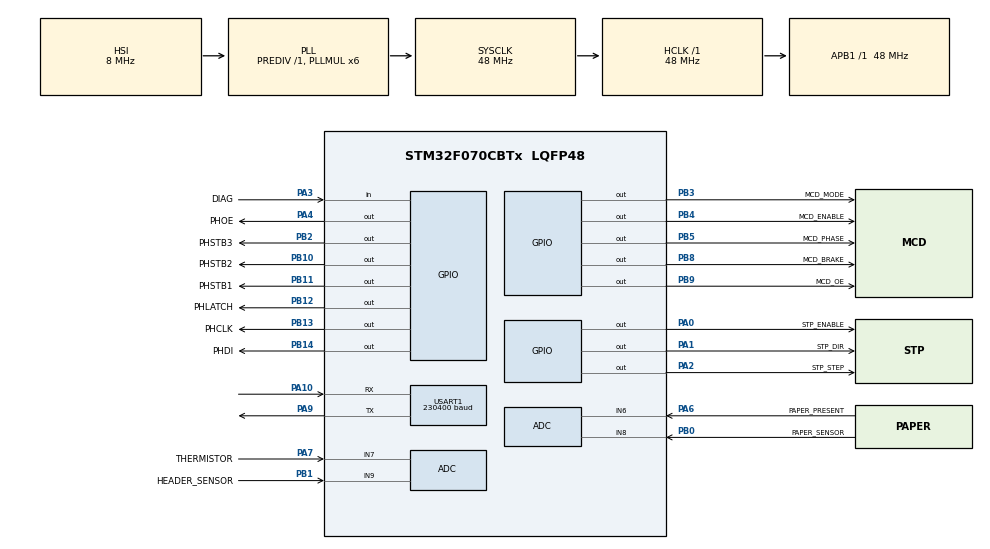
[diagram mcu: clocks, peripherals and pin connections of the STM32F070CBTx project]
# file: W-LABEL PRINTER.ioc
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ADC.SamplingTime=ADC_SAMPLETIME_239CYCLES_5
Mcu.Family=STM32F0
Mcu.Name=STM32F070CBTx
Mcu.Package=LQFP48
NVIC.TIM14_IRQn=true\:1\:0\:true\:false\:true\:true\:true
NVIC.USART1_IRQn=true\:0\:0\:false\:false\:true\:true\:true
PA0.GPIO_Label=STP_ENABLE
PA0.GPIO_PuPd=GPIO_PULLDOWN
PA0.Signal=GPIO_Output
PA1.GPIO_Label=STP_DIR
PA1.Signal=GPIO_Output
PA10.Mode=Asynchronous
PA10.Signal=USART1_RX
PA13.Mode=Serial_Wire
PA13.Signal=SYS_SWDIO
PA14.Mode=Serial_Wire
PA14.Signal=SYS_SWCLK
PA2.GPIO_Label=STP_STEP
PA2.GPIO_PuPd=GPIO_PULLDOWN
PA2.GPIO_Speed=GPIO_SPEED_FREQ_HIGH
PA2.Signal=GPIO_Output
PA3.GPIO_Label=DIAG
PA3.Signal=GPIO_Input
PA4.GPIO_Label=PHOE
PA4.GPIO_PuPd=GPIO_PULLDOWN
PA4.Signal=GPIO_Output
PA6.GPIO_Label=PAPER_PRESENT
PA6.Mode=IN6
PA6.Signal=ADC_IN6
PA7.GPIO_Label=THERMISTOR
PA7.Mode=IN7
PA7.Signal=ADC_IN7
PA9.Mode=Asynchronous
PA9.Signal=USART1_TX
PB0.GPIO_Label=PAPER_SENSOR
PB0.Mode=IN8
PB0.Signal=ADC_IN8
PB1.GPIO_Label=HEADER_SENSOR
PB1.Mode=IN9
PB1.Signal=ADC_IN9
PB10.GPIO_Label=PHSTB2
PB10.GPIO_PuPd=GPIO_PULLDOWN
PB10.GPIO_Speed=GPIO_SPEED_FREQ_HIGH
PB10.Signal=GPIO_Output
PB11.GPIO_Label=PHSTB1
PB11.GPIO_PuPd=GPIO_PULLDOWN
PB11.GPIO_Speed=GPIO_SPEED_FREQ_HIGH
PB11.Signal=GPIO_Output
PB12.GPIO_Label=PHLATCH
PB12.GPIO_Speed=GPIO_SPEED_FREQ_HIGH
PB12.Signal=GPIO_Output
PB13.GPIO_Label=PHCLK
PB13.GPIO_Speed=GPIO_SPEED_FREQ_HIGH
PB13.Signal=GPIO_Output
PB14.GPIO_Label=PHDI
PB14.GPIO_Speed=GPIO_SPEED_FREQ_HIGH
PB14.Signal=GPIO_Output
PB2.GPIO_Label=PHSTB3
PB2.GPIO_PuPd=GPIO_PULLDOWN
PB2.GPIO_Speed=GPIO_SPEED_FREQ_HIGH
PB2.Signal=GPIO_Output
PB3.GPIO_Label=MCD_MODE
PB3.Signal=GPIO_Output
PB4.GPIO_Label=MCD_ENABLE
PB4.GPIO_PuPd=GPIO_PULLDOWN
PB4.Signal=GPIO_Output
PB5.GPIO_Label=MCD_PHASE
PB5.Signal=GPIO_Output
PB8.GPIO_Label=MCD_BRAKE
PB8.Signal=GPIO_Output
PB9.GPIO_Label=MCD_OE
PB9.Signal=GPIO_Output
ProjectManager.HeapSize=0x200
ProjectManager.StackSize=0x400
ProjectManager.TargetToolchain=MDK-ARM V5.27
RCC.AHBFreq_Value=48000000
RCC.APB1Freq_Value=48000000
RCC.APB1TimFreq_Value=48000000
RCC.HCLKFreq_Value=48000000
RCC.PLLMUL=RCC_PLL_MUL6
RCC.SYSCLKFreq_VALUE=48000000
RCC.SYSCLKSource=RCC_SYSCLKSOURCE_PLLCLK
TIM14.Period=1200
TIM14.Prescaler=47
USART1.BaudRate=230400
USART1.VirtualMode-Asynchronous=VM_ASYNC
VP_IWDG_VS_IWDG.Mode=IWDG_Activate
VP_TIM14_VS_ClockSourceINT.Mode=Enable_Timer
board=custom

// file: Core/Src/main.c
/* USER CODE BEGIN Header */
/**
  ******************************************************************************
  * @file           : main.c
  * @brief          : Main program body
  ******************************************************************************
  * @attention
  *
  * <h2><center>&copy; Copyright (c) 2022 STMicroelectronics.
  * All rights reserved.</center></h2>
  *
  * This software component is licensed by ST under BSD 3-Clause license,
  * the "License"; You may not use this file except in compliance with the
  * License. You may obtain a copy of the License at:
  *                        opensource.org/licenses/BSD-3-Clause
  *
  ******************************************************************************
  */
/* USER CODE END Header */
#include "main.h"

ADC_HandleTypeDef hadc;

IWDG_HandleTypeDef hiwdg;

TIM_HandleTypeDef htim14;

UART_HandleTypeDef huart1;

void SystemClock_Config(void);
static void MX_GPIO_Init(void);
static void MX_ADC_Init(void);
static void MX_IWDG_Init(void);
static void MX_TIM14_Init(void);
static void MX_USART1_UART_Init(void);

int main(void)
{

  /* MCU Configuration--------------------------------------------------------*/

  /* Reset of all peripherals, Initializes the Flash interface and the Systick. */
  HAL_Init();

  /* Configure the system clock */
  SystemClock_Config();

  /* Initialize all configured peripherals */
  MX_GPIO_Init();
  MX_ADC_Init();
 // MX_IWDG_Init();
  MX_TIM14_Init();
  MX_USART1_UART_Init();
  /* USER CODE BEGIN 2 */
  sensor_process_init();
	dcmotor_disable();
	steppermotor_disable();
	steppermotor_setspeed(300);
	printerhead_disable();
	HAL_TIM_Base_Start_IT(&htim14);
	HAL_NVIC_EnableIRQ(TIM14_IRQn);
	/* USER CODE END 2 */

  /* Infinite loop */
  /* USER CODE BEGIN WHILE */
	steppermotor_enable();
  printerhead_enable();
  while (1)
  {
		IWDG->KR = IWDG_KEY_REFRESH;
		sensor_process();

		HAL_Delay(2000);
	steppermotor_disable();
  printerhead_disable();
while (1);

    /* USER CODE END WHILE */

  }
}

void SystemClock_Config(void)
{
  RCC_OscInitTypeDef RCC_OscInitStruct = {0};
  RCC_ClkInitTypeDef RCC_ClkInitStruct = {0};
  RCC_PeriphCLKInitTypeDef PeriphClkInit = {0};

  /** Initializes the RCC Oscillators according to the specified parameters
  * in the RCC_OscInitTypeDef structure.
  */
  RCC_OscInitStruct.OscillatorType = RCC_OSCILLATORTYPE_HSI|RCC_OSCILLATORTYPE_HSI14
                              |RCC_OSCILLATORTYPE_LSI;
  RCC_OscInitStruct.HSIState = RCC_HSI_ON;
  RCC_OscInitStruct.HSI14State = RCC_HSI14_ON;
  RCC_OscInitStruct.HSICalibrationValue = RCC_HSICALIBRATION_DEFAULT;
  RCC_OscInitStruct.HSI14CalibrationValue = 16;
  RCC_OscInitStruct.LSIState = RCC_LSI_ON;
  RCC_OscInitStruct.PLL.PLLState = RCC_PLL_ON;
  RCC_OscInitStruct.PLL.PLLSource = RCC_PLLSOURCE_HSI;
  RCC_OscInitStruct.PLL.PLLMUL = RCC_PLL_MUL6;
  RCC_OscInitStruct.PLL.PREDIV = RCC_PREDIV_DIV1;
  if (HAL_RCC_OscConfig(&RCC_OscInitStruct) != HAL_OK)
  {
    Error_Handler();
  }
  /** Initializes the CPU, AHB and APB buses clocks
  */
  RCC_ClkInitStruct.ClockType = RCC_CLOCKTYPE_HCLK|RCC_CLOCKTYPE_SYSCLK
                              |RCC_CLOCKTYPE_PCLK1;
  RCC_ClkInitStruct.SYSCLKSource = RCC_SYSCLKSOURCE_PLLCLK;
  RCC_ClkInitStruct.AHBCLKDivider = RCC_SYSCLK_DIV1;
  RCC_ClkInitStruct.APB1CLKDivider = RCC_HCLK_DIV1;

  if (HAL_RCC_ClockConfig(&RCC_ClkInitStruct, FLASH_LATENCY_1) != HAL_OK)
  {
    Error_Handler();
  }
  PeriphClkInit.PeriphClockSelection = RCC_PERIPHCLK_USART1;
  PeriphClkInit.Usart1ClockSelection = RCC_USART1CLKSOURCE_PCLK1;
  if (HAL_RCCEx_PeriphCLKConfig(&PeriphClkInit) != HAL_OK)
  {
    Error_Handler();
  }
}

static void MX_ADC_Init(void)
{

  ADC_ChannelConfTypeDef sConfig = {0};

  /** Configure the global features of the ADC (Clock, Resolution, Data Alignment and number of conversion)
  */
  hadc.Instance = ADC1;
  hadc.Init.ClockPrescaler = ADC_CLOCK_ASYNC_DIV1;
  hadc.Init.Resolution = ADC_RESOLUTION_12B;
  hadc.Init.DataAlign = ADC_DATAALIGN_RIGHT;
  hadc.Init.ScanConvMode = ADC_SCAN_DIRECTION_FORWARD;
  hadc.Init.EOCSelection = ADC_EOC_SINGLE_CONV;
  hadc.Init.LowPowerAutoWait = DISABLE;
  hadc.Init.LowPowerAutoPowerOff = DISABLE;
  hadc.Init.ContinuousConvMode = DISABLE;
  hadc.Init.DiscontinuousConvMode = DISABLE;
  hadc.Init.ExternalTrigConv = ADC_SOFTWARE_START;
  hadc.Init.ExternalTrigConvEdge = ADC_EXTERNALTRIGCONVEDGE_NONE;
  hadc.Init.DMAContinuousRequests = DISABLE;
  hadc.Init.Overrun = ADC_OVR_DATA_PRESERVED;
  if (HAL_ADC_Init(&hadc) != HAL_OK)
  {
    Error_Handler();
  }
  /** Configure for the selected ADC regular channel to be converted.
  */
  sConfig.Channel = ADC_CHANNEL_6;
  sConfig.Rank = ADC_RANK_CHANNEL_NUMBER;
  sConfig.SamplingTime = ADC_SAMPLETIME_239CYCLES_5;
  if (HAL_ADC_ConfigChannel(&hadc, &sConfig) != HAL_OK)
  {
    Error_Handler();
  }
  /** Configure for the selected ADC regular channel to be converted.
  */
  sConfig.Channel = ADC_CHANNEL_7;
  if (HAL_ADC_ConfigChannel(&hadc, &sConfig) != HAL_OK)
  {
    Error_Handler();
  }
  /** Configure for the selected ADC regular channel to be converted.
  */
  sConfig.Channel = ADC_CHANNEL_8;
  if (HAL_ADC_ConfigChannel(&hadc, &sConfig) != HAL_OK)
  {
    Error_Handler();
  }
  /** Configure for the selected ADC regular channel to be converted.
  */
  sConfig.Channel = ADC_CHANNEL_9;
  if (HAL_ADC_ConfigChannel(&hadc, &sConfig) != HAL_OK)
  {
    Error_Handler();
  }

}

static void MX_IWDG_Init(void)
{

  hiwdg.Instance = IWDG;
  hiwdg.Init.Prescaler = IWDG_PRESCALER_4;
  hiwdg.Init.Window = 4095;
  hiwdg.Init.Reload = 4095;
  if (HAL_IWDG_Init(&hiwdg) != HAL_OK)
  {
    Error_Handler();
  }

}

static void MX_TIM14_Init(void)
{

  htim14.Instance = TIM14;
  htim14.Init.Prescaler = 47;
  htim14.Init.CounterMode = TIM_COUNTERMODE_UP;
  htim14.Init.Period = 479;
  htim14.Init.ClockDivision = TIM_CLOCKDIVISION_DIV1;
  htim14.Init.AutoReloadPreload = TIM_AUTORELOAD_PRELOAD_DISABLE;
  if (HAL_TIM_Base_Init(&htim14) != HAL_OK)
  {
    Error_Handler();
  }

}

static void MX_USART1_UART_Init(void)
{

  huart1.Instance = USART1;
  huart1.Init.BaudRate = 230400;
  huart1.Init.WordLength = UART_WORDLENGTH_8B;
  huart1.Init.StopBits = UART_STOPBITS_1;
  huart1.Init.Parity = UART_PARITY_NONE;
  huart1.Init.Mode = UART_MODE_TX_RX;
  huart1.Init.HwFlowCtl = UART_HWCONTROL_NONE;
  huart1.Init.OverSampling = UART_OVERSAMPLING_16;
  huart1.Init.OneBitSampling = UART_ONE_BIT_SAMPLE_DISABLE;
  huart1.AdvancedInit.AdvFeatureInit = UART_ADVFEATURE_NO_INIT;
  if (HAL_UART_Init(&huart1) != HAL_OK)
  {
    Error_Handler();
  }

}

static void MX_GPIO_Init(void)
{
  GPIO_InitTypeDef GPIO_InitStruct = {0};

  /* GPIO Ports Clock Enable */
  __HAL_RCC_GPIOA_CLK_ENABLE();
  __HAL_RCC_GPIOB_CLK_ENABLE();

  /*Configure GPIO pin Output Level */
  HAL_GPIO_WritePin(GPIOA, STP_ENABLE_Pin|STP_DIR_Pin|STP_STEP_Pin|PHOE_Pin, GPIO_PIN_RESET);

  /*Configure GPIO pin Output Level */
  HAL_GPIO_WritePin(GPIOB, PHSTB3_Pin|PHSTB2_Pin|PHSTB1_Pin|PHLATCH_Pin
                          |PHCLK_Pin|PHDI_Pin|MCD_MODE_Pin|MCD_ENABLE_Pin
                          |MCD_PHASE_Pin|MCD_BRAKE_Pin|MCD_OE_Pin, GPIO_PIN_RESET);

  /*Configure GPIO pins : STP_ENABLE_Pin PHOE_Pin */
  GPIO_InitStruct.Pin = STP_ENABLE_Pin|PHOE_Pin;
  GPIO_InitStruct.Mode = GPIO_MODE_OUTPUT_PP;
  GPIO_InitStruct.Pull = GPIO_PULLDOWN;
  GPIO_InitStruct.Speed = GPIO_SPEED_FREQ_LOW;
  HAL_GPIO_Init(GPIOA, &GPIO_InitStruct);

  /*Configure GPIO pin : STP_DIR_Pin */
  GPIO_InitStruct.Pin = STP_DIR_Pin;
  GPIO_InitStruct.Mode = GPIO_MODE_OUTPUT_PP;
  GPIO_InitStruct.Pull = GPIO_NOPULL;
  GPIO_InitStruct.Speed = GPIO_SPEED_FREQ_LOW;
  HAL_GPIO_Init(STP_DIR_GPIO_Port, &GPIO_InitStruct);

  /*Configure GPIO pin : STP_STEP_Pin */
  GPIO_InitStruct.Pin = STP_STEP_Pin;
  GPIO_InitStruct.Mode = GPIO_MODE_OUTPUT_PP;
  GPIO_InitStruct.Pull = GPIO_PULLDOWN;
  GPIO_InitStruct.Speed = GPIO_SPEED_FREQ_HIGH;
  HAL_GPIO_Init(STP_STEP_GPIO_Port, &GPIO_InitStruct);

  /*Configure GPIO pin : DIAG_Pin */
  GPIO_InitStruct.Pin = DIAG_Pin;
  GPIO_InitStruct.Mode = GPIO_MODE_INPUT;
  GPIO_InitStruct.Pull = GPIO_NOPULL;
  HAL_GPIO_Init(DIAG_GPIO_Port, &GPIO_InitStruct);

  /*Configure GPIO pins : PHSTB3_Pin PHSTB2_Pin PHSTB1_Pin */
  GPIO_InitStruct.Pin = PHSTB3_Pin|PHSTB2_Pin|PHSTB1_Pin;
  GPIO_InitStruct.Mode = GPIO_MODE_OUTPUT_PP;
  GPIO_InitStruct.Pull = GPIO_PULLDOWN;
  GPIO_InitStruct.Speed = GPIO_SPEED_FREQ_HIGH;
  HAL_GPIO_Init(GPIOB, &GPIO_InitStruct);

  /*Configure GPIO pins : PHLATCH_Pin PHCLK_Pin PHDI_Pin */
  GPIO_InitStruct.Pin = PHLATCH_Pin|PHCLK_Pin|PHDI_Pin;
  GPIO_InitStruct.Mode = GPIO_MODE_OUTPUT_PP;
  GPIO_InitStruct.Pull = GPIO_NOPULL;
  GPIO_InitStruct.Speed = GPIO_SPEED_FREQ_HIGH;
  HAL_GPIO_Init(GPIOB, &GPIO_InitStruct);

  /*Configure GPIO pins : MCD_MODE_Pin MCD_PHASE_Pin MCD_BRAKE_Pin MCD_OE_Pin */
  GPIO_InitStruct.Pin = MCD_MODE_Pin|MCD_PHASE_Pin|MCD_BRAKE_Pin|MCD_OE_Pin;
  GPIO_InitStruct.Mode = GPIO_MODE_OUTPUT_PP;
  GPIO_InitStruct.Pull = GPIO_NOPULL;
  GPIO_InitStruct.Speed = GPIO_SPEED_FREQ_LOW;
  HAL_GPIO_Init(GPIOB, &GPIO_InitStruct);

  /*Configure GPIO pin : MCD_ENABLE_Pin */
  GPIO_InitStruct.Pin = MCD_ENABLE_Pin;
  GPIO_InitStruct.Mode = GPIO_MODE_OUTPUT_PP;
  GPIO_InitStruct.Pull = GPIO_PULLDOWN;
  GPIO_InitStruct.Speed = GPIO_SPEED_FREQ_LOW;
  HAL_GPIO_Init(MCD_ENABLE_GPIO_Port, &GPIO_InitStruct);

}

void Error_Handler(void)
{
}

/************************ (C) COPYRIGHT STMicroelectronics *****END OF FILE****/
